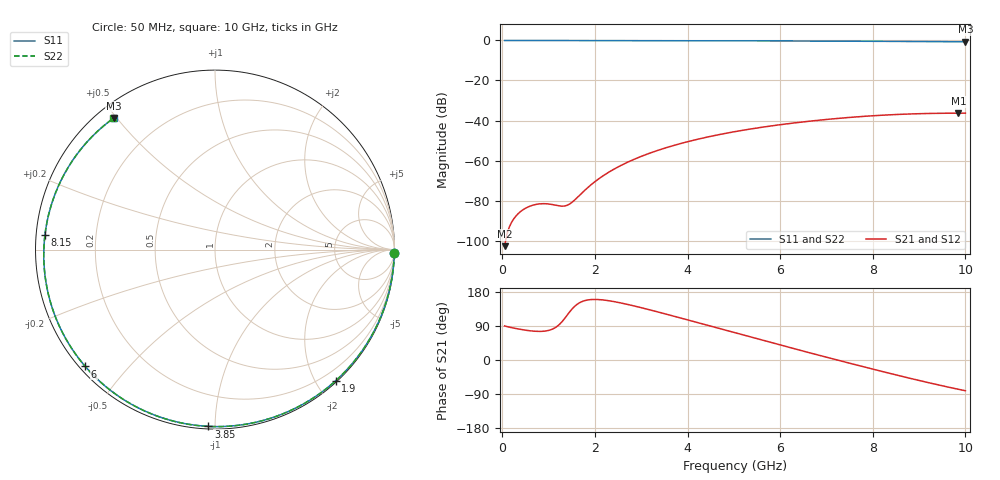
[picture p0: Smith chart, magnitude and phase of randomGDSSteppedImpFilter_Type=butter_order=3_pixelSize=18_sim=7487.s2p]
! freq	dB(S11)	phase(S11)	dB(S12)	phase(S12)
!  dB(S21)	phase(S21)	dB(S22)	phase(S22)
!S-par simulation data
#  GHz  S  DB  R 50
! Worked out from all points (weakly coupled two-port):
!   200 points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, 50 MHz to 10 GHz, reference 50 ohm
!   highest |S21| = -36.32 dB at 9.85 GHz (marker M1); lowest = -102.8 dB at 50 MHz (marker M2)
!   lowest |S11| = -0.7 dB at 10 GHz (marker M3), VSWR 25.71, Z = 2.41 + j24.5 ohm
!   |S11| at or under -10 dB: nowhere
!   |S22| runs from -0.7 to 0.0 dB; largest |S21 - S12| = 0
!   S11 on the Smith chart (normalised r, x): 50 MHz: 2, -93; 1.9 GHz: 0.02, -2.28; 3.85 GHz: 0.01, -0.96; 6 GHz: 0.02, -0.38; 8.15 GHz: 0.03, +0.04; 10 GHz: 0.05, +0.49
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0.05  -0.00 -1.2  -102.75 90.1  -102.75 90.1  -0.00 -1.2
0.45  -0.02 -11.4  -84.53 79.7  -84.53 79.7  -0.02 -11.4
0.8  -0.03 -20.2  -81.65 75.5  -81.65 75.5  -0.03 -20.2
1.55  -0.05 -38.8  -79.97 140.2  -79.97 140.2  -0.05 -38.8
1.75  -0.06 -43.7  -75.53 155.5  -75.53 155.5  -0.06 -43.7
1.9  -0.06 -47.3  -72.41 159.3  -72.41 159.3  -0.06 -47.3
2.2  -0.07 -54.5  -67.25 158.1  -67.25 158.1  -0.07 -54.5
2.55  -0.08 -62.7  -62.57 150.8  -62.57 150.8  -0.08 -62.7
2.95  -0.09 -72.0  -58.37 139.6  -58.37 139.6  -0.09 -72.0
3.4  -0.11 -82.2  -54.58 125.5  -54.58 125.5  -0.11 -82.2
3.85  -0.12 -92.2  -51.49 110.8  -51.49 110.8  -0.12 -92.1
4.45  -0.15 -105.2  -48.14 90.9  -48.14 90.9  -0.15 -105.2
5.05  -0.18 -118.0  -45.43 70.8  -45.43 70.8  -0.18 -118.0
6  -0.24 -138.0  -42.08 39.6  -42.08 39.6  -0.24 -137.9
6.7  -0.29 -152.8  -40.16 16.9  -40.16 16.9  -0.29 -152.7
7.45  -0.36 -169.1  -38.53 -6.9  -38.53 -6.9  -0.36 -169.0
8.15  -0.44 175.1  -37.41 -28.7  -37.41 -28.7  -0.44 175.2
8.35  -0.46 170.4  -37.16 -34.8  -37.16 -34.8  -0.46 170.5
9.1  -0.55 152.0  -36.52 -56.9  -36.52 -56.9  -0.55 152.1
9.45  -0.60 142.8  -36.38 -66.7  -36.38 -66.7  -0.60 143.0
9.85  -0.65 131.9  -36.32 -77.3  -36.32 -77.3  -0.65 132.1
10  -0.68 127.6  -36.33 -81.2  -36.33 -81.2  -0.68 127.8
